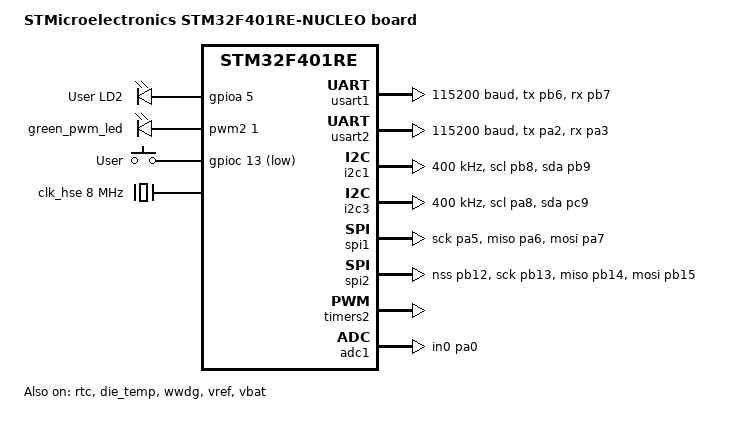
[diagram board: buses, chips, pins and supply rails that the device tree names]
/*
 * Copyright (c) 2017 Linaro Limited
 * Copyright (c) 2019 Centaur Analytics, Inc
 *
 * SPDX-License-Identifier: Apache-2.0
 */

/dts-v1/;
#include <st/f4/stm32f401Xe.dtsi>
#include <st/f4/stm32f401r(d-e)tx-pinctrl.dtsi>
#include "arduino_r3_connector.dtsi"
#include "st_morpho_connector.dtsi"
#include <zephyr/dt-bindings/input/input-event-codes.h>

/ {
	model = "STMicroelectronics STM32F401RE-NUCLEO board";
	compatible = "st,stm32f401re-nucleo";

	chosen {
		zephyr,console = &usart2;
		zephyr,shell-uart = &usart2;
		zephyr,sram = &sram0;
		zephyr,flash = &flash0;
		zephyr,code-partition = &slot0_partition;
	};

	leds: leds {
		compatible = "gpio-leds";
		green_led_2: led_2 {
			gpios = <&gpioa 5 GPIO_ACTIVE_HIGH>;
			label = "User LD2";
		};
	};

	pwmleds {
		compatible = "pwm-leds";
		green_pwm_led: green_pwm_led {
			pwms = <&pwm2 1 PWM_MSEC(20) PWM_POLARITY_NORMAL>;
		};
	};

	gpio_keys {
		compatible = "gpio-keys";
		user_button: button {
			label = "User";
			gpios = <&gpioc 13 GPIO_ACTIVE_LOW>;
			zephyr,code = <INPUT_KEY_0>;
		};
	};

	aliases {
		led0 = &green_led_2;
		sw0 = &user_button;
		pwm-led0 = &green_pwm_led;
		watchdog0 = &wwdg;
		die-temp0 = &die_temp;
		volt-sensor0 = &vref;
		volt-sensor1 = &vbat;
	};
};

&clk_lsi {
	status = "okay";
};

&clk_hse {
	hse-bypass;
	clock-frequency = <DT_FREQ_M(8)>; /* STLink 8MHz clock */
	status = "okay";
};

&pll {
	div-m = <8>;
	mul-n = <336>;
	div-p = <4>;
	div-q = <7>;
	clocks = <&clk_hse>;
	status = "okay";
};

&rcc {
	clocks = <&pll>;
	clock-frequency = <DT_FREQ_M(84)>;
	ahb-prescaler = <1>;
	apb1-prescaler = <2>;
	apb2-prescaler = <1>;
};

&usart1 {
	pinctrl-0 = <&usart1_tx_pb6 &usart1_rx_pb7>;
	pinctrl-names = "default";
	current-speed = <115200>;
	status = "okay";
};

&usart2 {
	pinctrl-0 = <&usart2_tx_pa2 &usart2_rx_pa3>;
	pinctrl-names = "default";
	current-speed = <115200>;
	status = "okay";
};

&i2c1 {
	pinctrl-0 = <&i2c1_scl_pb8 &i2c1_sda_pb9>;
	pinctrl-names = "default";
	status = "okay";
	clock-frequency = <I2C_BITRATE_FAST>;
};

&i2c3 {
	pinctrl-0 = <&i2c3_scl_pa8 &i2c3_sda_pc9>;
	pinctrl-names = "default";
	status = "okay";
	clock-frequency = <I2C_BITRATE_FAST>;
};

&spi1 {
	pinctrl-0 = <&spi1_sck_pa5 &spi1_miso_pa6 &spi1_mosi_pa7>;
	pinctrl-names = "default";
	cs-gpios = <&gpiob 6 (GPIO_ACTIVE_LOW | GPIO_PULL_UP)>;
	status = "okay";
};

&spi2 {
	pinctrl-0 = <&spi2_nss_pb12 &spi2_sck_pb13
		     &spi2_miso_pb14 &spi2_mosi_pb15>;
	pinctrl-names = "default";
	status = "okay";
};

&flash0 {

	partitions {
		compatible = "fixed-partitions";
		#address-cells = <1>;
		#size-cells = <1>;

		boot_partition: partition@0 {
			label = "mcuboot";
			reg = <0x00000000 DT_SIZE_K(64)>;
			read-only;
		};

		/*
		 * The flash starting at offset 0x10000 and ending at
		 * offset 0x1ffff is reserved for use by the application.
		 */

		slot0_partition: partition@20000 {
			label = "image-0";
			reg = <0x00020000 DT_SIZE_K(128)>;
		};
		slot1_partition: partition@40000 {
			label = "image-1";
			reg = <0x00040000 DT_SIZE_K(128)>;
		};
		scratch_partition: partition@60000 {
			label = "image-scratch";
			reg = <0x00060000 DT_SIZE_K(128)>;
		};
	};
};

&timers2 {
	status = "okay";

	pwm2: pwm {
		status = "okay";
		pinctrl-0 = <&tim2_ch1_pa5>;
		pinctrl-names = "default";
	};
};

&rtc {
	clocks = <&rcc STM32_CLOCK_BUS_APB1 0x10000000>,
		 <&rcc STM32_SRC_LSI RTC_SEL(2)>;
	status = "okay";
};

&adc1 {
	pinctrl-0 = <&adc1_in0_pa0>;
	pinctrl-names = "default";
	st,adc-clock-source = <SYNC>;
	st,adc-prescaler = <2>;
	status = "okay";
};

&die_temp {
	status = "okay";
};

&wwdg {
	status = "okay";
};

&vref {
	status = "okay";
};

&vbat {
	status = "okay";
};
